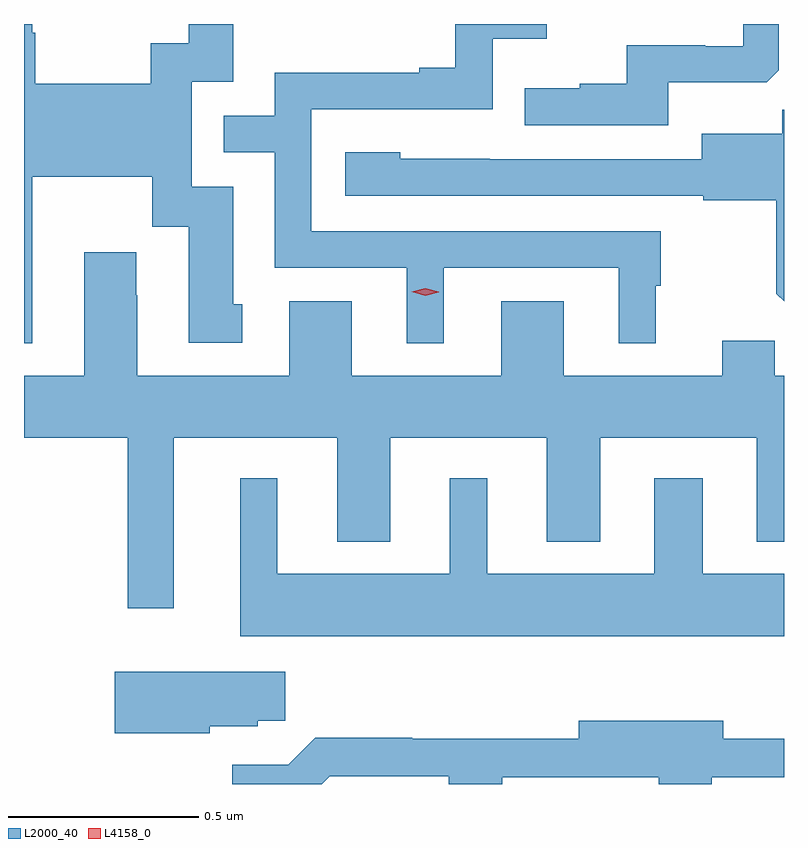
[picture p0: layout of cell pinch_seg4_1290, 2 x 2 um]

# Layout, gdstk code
import gdstk
lib = gdstk.Library(unit=1e-6, precision=1e-09)
def P(c, l, *ps):  # polygons
    for p in ps: c.add(gdstk.Polygon(p, *l))
L2000_40 = (2000, 40)
L4158_0 = (4158, 0)

pinch_seg4_1290 = lib.new_cell('pinch_seg4_1290')
P(pinch_seg4_1290, L2000_40, [(243.391,773.78),(243.649,773.78),(243.681,773.811),(243.681,773.933),(243.588,773.933),(243.588,773.874),(243.488,773.874),(243.488,773.877),(243.281,773.877),(243.281,773.776),(243.157,773.776),(243.157,773.764),(243.013,773.764),(243.013,773.667),(243.391,773.667)],
  [(241.717,773.531),(242.033,773.531),(242.033,773.4),(242.129,773.4),(242.129,773.094),(242.269,773.094),(242.269,773.196),(242.245,773.196),(242.245,773.505),(242.136,773.505),(242.136,773.781),(242.245,773.781),(242.245,773.933),(242.129,773.933),(242.129,773.882),(242.028,773.882),(242.028,773.776),(241.725,773.776),(241.725,773.91),(241.717,773.91),(241.717,773.933),(241.695,773.933),(241.695,773.093),(241.717,773.093)],
  [(242.8,773.292),(243.26,773.292),(243.26,773.093),(243.358,773.093),(243.358,773.244),(243.37,773.244),(243.37,773.388),(242.451,773.388),(242.451,773.709),(242.928,773.709),(242.928,773.894),(243.07,773.894),(243.07,773.933),(242.83,773.933),(242.83,773.818),(242.735,773.818),(242.735,773.805),(242.355,773.805),(242.355,773.691),(242.221,773.691),(242.221,773.595),(242.355,773.595),(242.355,773.292),(242.702,773.292),(242.702,773.093),(242.8,773.093)],
  [(243.695,773.708),(243.69,773.708),(243.69,773.644),(243.479,773.644),(243.479,773.577),(242.921,773.577),(242.921,773.578),(242.685,773.578),(242.685,773.596),(242.541,773.596),(242.541,773.481),(243.483,773.481),(243.483,773.469),(243.675,773.469),(243.675,773.223),(243.695,773.203)],
  [(242.089,772.844),(242.519,772.844),(242.519,772.571),(242.659,772.571),(242.659,772.844),(243.071,772.844),(243.071,772.571),(243.211,772.571),(243.211,772.844),(243.623,772.844),(243.623,772.571),(243.695,772.571),(243.695,773.008),(243.671,773.008),(243.671,773.099),(243.533,773.099),(243.533,773.008),(243.115,773.008),(243.115,773.203),(242.951,773.203),(242.951,773.008),(242.557,773.008),(242.557,773.203),(242.393,773.203),(242.393,773.008),(241.993,773.008),(241.993,773.219),(241.99,773.219),(241.99,773.332),(241.853,773.332),(241.853,773.008),(241.695,773.008),(241.695,772.844),(241.968,772.844),(241.968,772.395),(242.089,772.395)],
  [(243.695,772.486),(243.481,772.486),(243.481,772.738),(243.353,772.738),(243.353,772.486),(242.914,772.486),(242.914,772.738),(242.816,772.738),(242.816,772.486),(242.362,772.486),(242.362,772.738),(242.264,772.738),(242.264,772.322),(243.695,772.322)],
  [(242.184,772.085),(242.31,772.085),(242.31,772.099),(242.383,772.099),(242.383,772.228),(241.934,772.228),(241.934,772.067),(242.184,772.067)],
  [(242.499,771.954),(242.813,771.954),(242.813,771.933),(242.953,771.933),(242.953,771.951),(243.365,771.951),(243.365,771.933),(243.505,771.933),(243.505,771.951),(243.695,771.951),(243.695,772.052),(243.535,772.052),(243.535,772.099),(243.155,772.099),(243.155,772.052),(242.717,772.052),(242.717,772.055),(242.462,772.055),(242.391,771.984),(242.243,771.984),(242.243,771.933),(242.478,771.933)])
P(pinch_seg4_1290, L4158_0, [(242.751,773.218),(242.715,773.228),(242.715,773.228),(242.715,773.229),(242.751,773.238),(242.787,773.228),(242.787,773.228),(242.787,773.227)])

lib.write_gds('pinch_seg4_1290.gds')
